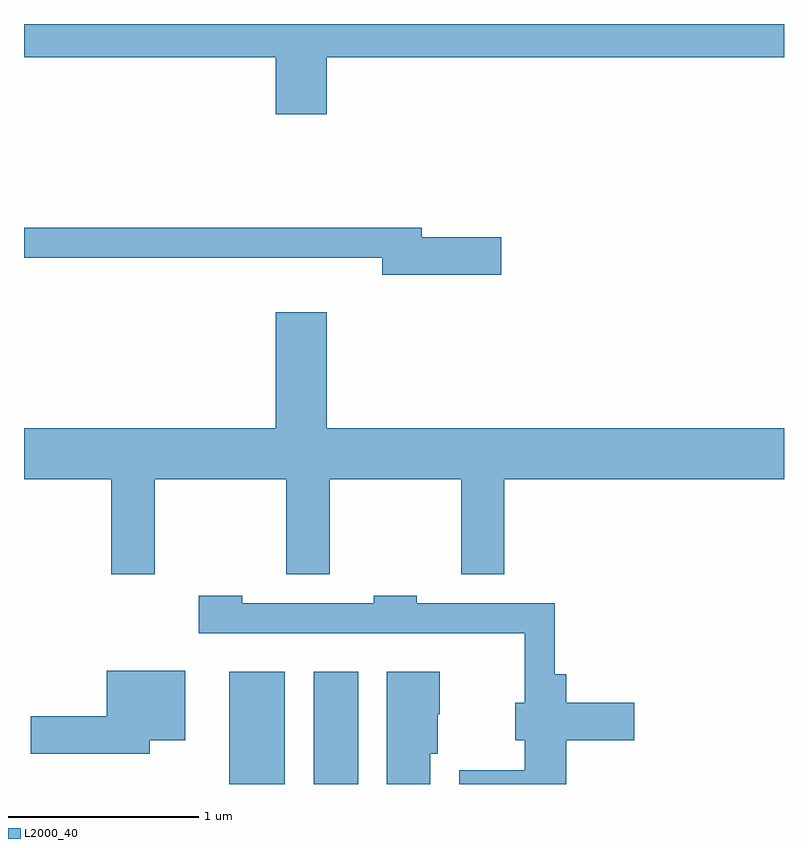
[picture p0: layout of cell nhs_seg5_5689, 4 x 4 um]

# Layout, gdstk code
import gdstk
lib = gdstk.Library(unit=1e-6, precision=1e-09)
def R(c, l, rs):  # rectangles x0, y0, x1, y1
    for r in rs: c.add(gdstk.rectangle(r[:2], r[2:], *l))
def P(c, l, *ps):  # polygons
    for p in ps: c.add(gdstk.Polygon(p, *l))
L2000_40 = (2000, 40)

nhs_seg5_5689 = lib.new_cell('nhs_seg5_5689')
R(nhs_seg5_5689, L2000_40, [(354.691,1464.072,354.984,1464.664), (355.136,1464.072,355.369,1464.664)])
P(nhs_seg5_5689, L2000_40, [(355.204,1467.896),(357.611,1467.896),(357.611,1468.072),(353.611,1468.072),(353.611,1467.896),(354.936,1467.896),(354.936,1467.596),(355.204,1467.596)],
  [(356.124,1466.949),(355.704,1466.949),(355.704,1466.999),(353.611,1466.999),(353.611,1466.841),(355.496,1466.841),(355.496,1466.751),(356.124,1466.751)],
  [(354.299,1465.676),(354.991,1465.676),(354.991,1465.176),(355.219,1465.176),(355.219,1465.676),(355.911,1465.676),(355.911,1465.176),(356.139,1465.176),(356.139,1465.676),(357.611,1465.676),(357.611,1465.944),(355.204,1465.944),(355.204,1466.554),(354.936,1466.554),(354.936,1465.944),(353.611,1465.944),(353.611,1465.676),(354.071,1465.676),(354.071,1465.176),(354.299,1465.176)],
  [(356.464,1464.301),(356.824,1464.301),(356.824,1464.499),(356.464,1464.499),(356.464,1464.649),(356.404,1464.649),(356.404,1465.024),(355.679,1465.024),(355.679,1465.064),(355.451,1465.064),(355.451,1465.024),(354.759,1465.024),(354.759,1465.064),(354.531,1465.064),(354.531,1464.866),(356.246,1464.866),(356.246,1464.499),(356.196,1464.499),(356.196,1464.301),(356.246,1464.301),(356.246,1464.144),(355.903,1464.144),(355.903,1464.072),(356.464,1464.072)],
  [(354.274,1464.301),(354.459,1464.301),(354.459,1464.669),(354.046,1464.669),(354.046,1464.429),(353.646,1464.429),(353.646,1464.231),(354.274,1464.231)],
  [(355.749,1464.231),(355.789,1464.231),(355.789,1464.44),(355.799,1464.44),(355.799,1464.664),(355.521,1464.664),(355.521,1464.072),(355.749,1464.072)])

lib.write_gds('nhs_seg5_5689.gds')
